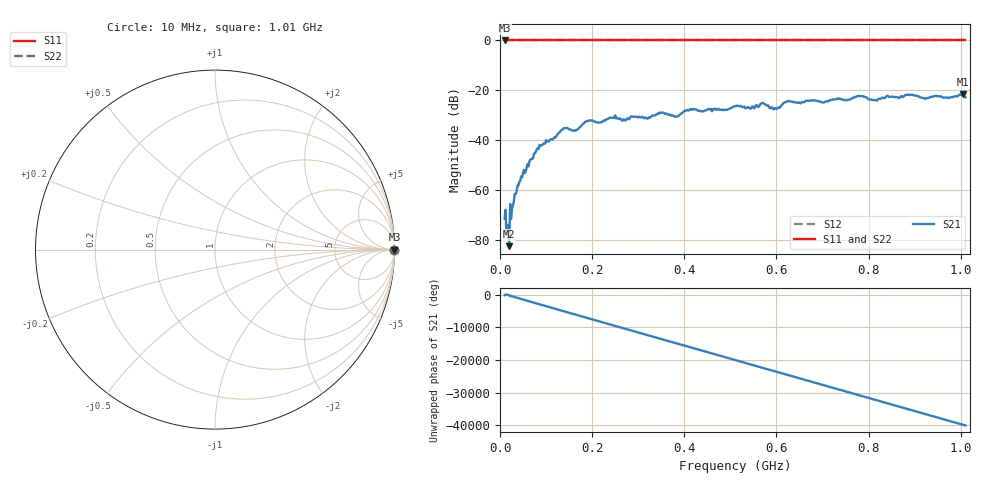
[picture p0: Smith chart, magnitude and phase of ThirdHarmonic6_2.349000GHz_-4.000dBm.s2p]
! 8/17/2025 3:31:29 AM
! C:\ANRITSUVNA\TEMP\TEMP.S2P
! CHANNEL.1
! TR.MEASUREMENT
! RAW.DATA
! RF.CORRECTION.OFF
! AVERAGING.OFF
! IF.BANDWIDTH: 5KHZ
! SWEEPTYPE:  FREQ.SWEEP(Linear)
! Reference Plane Port Info
! PORT:  PORT1  PORT2
! DISTANCE:  0  m  0  m
! TIME:  0  s  0  s
! PHASE.OFFSET:  0  deg.  0  deg.
! LOSS:  0  dB  0  dB
! REF.LOSS:  0  dB  0  dB
! REF.FREQ:  0  Hz  0  Hz
! Power Info
! POWER:  -20  dBm  -20  dBm
! EFF.POWER:  -20  dBm  -20  dBm
! SOURCE.ATTEN:  0  dB  0  dB
! TEST.ATTEN:  0  dB  0  dB
# GHZ S RI R 50.0
! FREQ.GHZ  S11RE  S11IM  S21RE  S21IM  S12RE  S12IM  S22RE  S22IM
!; PortSelection: Port_12
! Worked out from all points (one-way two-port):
!   501 points, 10 MHz to 1.01 GHz, reference 50 ohm
!   highest |S21| = -21.51 dB at 1.004 GHz (marker M1); lowest = -82.4 dB at 20 MHz (marker M2)
!   lowest |S11| = 0.0 dB at 10 MHz (marker M3)
!   |S11| at or under -10 dB: nowhere
!   |S22| runs from 0.0 to 0.0 dB; largest |S21 - S12| = 1.1
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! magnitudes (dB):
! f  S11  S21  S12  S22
! 10 MHz  0.0  -71.4  0.0  0.0
! 16 MHz  0.0  -74.0  0.0  0.0
! 20 MHz  0.0  -82.4  0.0  0.0
! 26 MHz  0.0  -67.5  0.0  0.0
! 42 MHz  0.0  -56.6  0.0  0.0
! 82 MHz  0.0  -43.2  0.0  0.0
! 136 MHz  0.0  -35.6  0.0  0.0
! 162 MHz  0.0  -35.9  0.0  0.0
! 178 MHz  0.0  -33.8  0.0  0.0
! 194 MHz  0.0  -32.0  0.0  0.0
! 322 MHz  0.0  -31.1  0.0  0.0
! 344 MHz  0.0  -29.4  0.0  0.0
! 384 MHz  0.0  -30.5  0.0  0.0
! 416 MHz  0.0  -27.7  0.0  0.0
! 510 MHz  0.0  -26.4  0.0  0.0
! 570 MHz  0.0  -25.0  0.0  0.0
! 596 MHz  0.0  -27.1  0.0  0.0
! 622 MHz  0.0  -24.5  0.0  0.0
! 678 MHz  0.0  -24.1  0.0  0.0
! 844 MHz  0.0  -22.6  0.0  0.0
! 1.004 GHz  0.0  -21.5  0.0  0.0
! 1.01 GHz  0.0  -22.8  0.0  0.0
